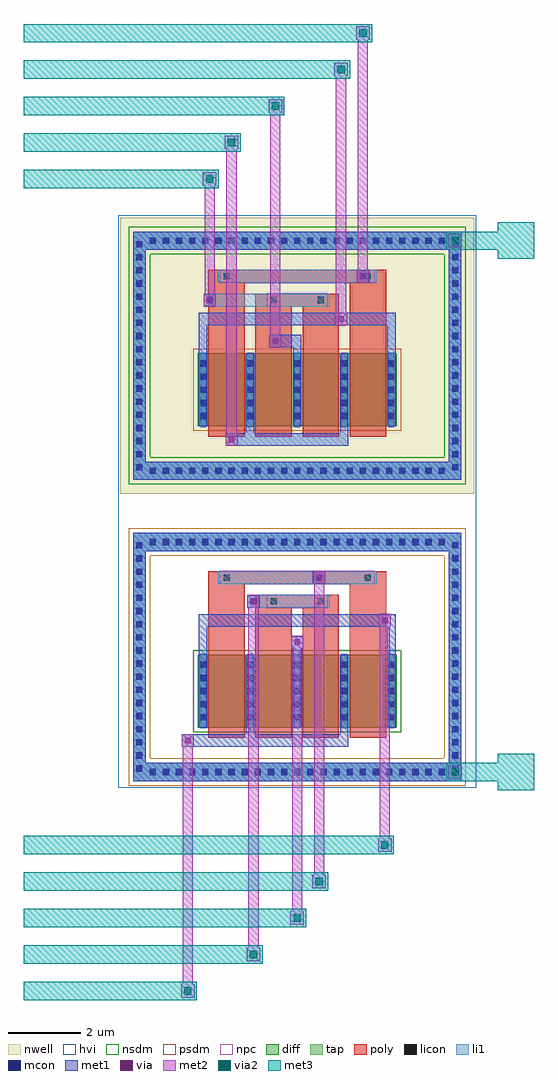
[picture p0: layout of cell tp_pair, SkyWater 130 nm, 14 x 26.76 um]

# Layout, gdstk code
import gdstk
lib = gdstk.Library(unit=1e-6, precision=1e-09)
def R(c, l, rs):  # rectangles x0, y0, x1, y1
    for r in rs: c.add(gdstk.rectangle(r[:2], r[2:], *l))
def A(c, l, x, y, w, h, nx, ny, dx, dy):  # array of equal rectangles
    R(c, l, [(x+i*dx, y+j*dy, x+i*dx+w, y+j*dy+h) for i in range(nx) for j in range(ny)])
nwell = (64, 20)
diff = (65, 20)
tap = (65, 44)
poly = (66, 20)
licon = (66, 44)
li1 = (67, 20)
mcon = (67, 44)
met1 = (68, 20)
via = (68, 44)
met2 = (69, 20)
via2 = (69, 44)
met3 = (70, 20)
hvi = (75, 20)
nsdm = (93, 44)
psdm = (94, 20)
npc = (95, 20)

tp_pair_rc = lib.new_cell('tp_pair_rc')
R(tp_pair_rc, nwell, [(-4.85,8.13,4.85,15.7)])
R(tp_pair_rc, diff, [(-2.725,1.72,2.725,3.72), (-2.725,9.98,2.725,11.98)])
R(tp_pair_rc, tap, [(-4.5,0.25,4.5,0.75), (-4.5,0.25,-4.16,7.06), (4.16,0.25,4.5,7.06), (-4.5,6.56,4.5,7.06), (-4.5,8.51,4.5,9.01), (-4.5,8.51,-4.16,15.32), (4.16,8.51,4.5,15.32), (-4.5,14.82,4.5,15.32)])
A(tp_pair_rc, poly, -2.435, 1.435, 1, 2.57, 4, 2, 1.29, 8.26)
R(tp_pair_rc, poly, [(-2.435,3.72,-1.435,5.83), (-1.145,3.72,-0.145,5.18), (0.145,3.72,1.145,5.18), (1.435,3.72,2.435,5.83), (-1.145,5,1.145,5.36), (-2.435,5.65,2.435,6.01), (-2.435,11.98,-1.435,14.09), (-1.145,11.98,-0.145,13.44), (0.145,11.98,1.145,13.44), (1.435,11.98,2.435,14.09), (-1.145,13.26,1.145,13.62), (-2.435,13.91,2.435,14.27)])
A(tp_pair_rc, licon, -4.045, 0.415, 0.17, 0.17, 23, 2, 0.36, 6.31)
A(tp_pair_rc, licon, -4.415, 0.51, 0.17, 0.17, 1, 18, 0, 0.36)
A(tp_pair_rc, licon, 4.245, 0.51, 0.17, 0.17, 1, 18, 0, 0.36)
A(tp_pair_rc, licon, -2.665, 1.915, 0.17, 0.17, 5, 5, 1.29, 0.36)
A(tp_pair_rc, licon, -4.045, 8.675, 0.17, 0.17, 23, 2, 0.36, 6.31)
A(tp_pair_rc, licon, -4.415, 8.77, 0.17, 0.17, 1, 18, 0, 0.36)
A(tp_pair_rc, licon, 4.245, 8.77, 0.17, 0.17, 1, 18, 0, 0.36)
A(tp_pair_rc, licon, -2.665, 10.175, 0.17, 0.17, 5, 5, 1.29, 0.36)
R(tp_pair_rc, licon, [(-0.73,5.095,-0.56,5.265), (0.56,5.095,0.73,5.265), (-2.02,5.745,-1.85,5.915), (1.85,5.745,2.02,5.915), (-0.73,13.355,-0.56,13.525), (0.56,13.355,0.73,13.525), (-2.02,14.005,-1.85,14.175), (1.85,14.005,2.02,14.175)])
A(tp_pair_rc, li1, -2.665, 1.7, 0.17, 2.04, 5, 2, 1.29, 8.26)
R(tp_pair_rc, li1, [(-4.5,0.25,4.5,0.75), (-4.5,0.25,-4.16,7.06), (4.16,0.25,4.5,7.06), (-1.37,5,0.895,5.36), (-2.185,5.65,2.185,6.01), (-4.5,6.56,4.5,7.06), (-4.5,8.51,4.5,9.01), (-4.5,8.51,-4.16,15.32), (4.16,8.51,4.5,15.32), (-2.57,13.26,0.895,13.62), (-2.185,13.91,2.185,14.27), (-4.5,14.82,4.5,15.32)])
A(tp_pair_rc, mcon, -4.045, 0.415, 0.17, 0.17, 23, 2, 0.36, 6.31)
A(tp_pair_rc, mcon, -4.415, 0.51, 0.17, 0.17, 1, 18, 0, 0.36)
A(tp_pair_rc, mcon, 4.245, 0.51, 0.17, 0.17, 1, 18, 0, 0.36)
A(tp_pair_rc, mcon, -2.665, 1.915, 0.17, 0.17, 5, 5, 1.29, 0.36)
A(tp_pair_rc, mcon, -4.045, 8.675, 0.17, 0.17, 23, 2, 0.36, 6.31)
A(tp_pair_rc, mcon, -4.415, 8.77, 0.17, 0.17, 1, 18, 0, 0.36)
A(tp_pair_rc, mcon, 4.245, 8.77, 0.17, 0.17, 1, 18, 0, 0.36)
A(tp_pair_rc, mcon, -2.665, 10.175, 0.17, 0.17, 5, 5, 1.29, 0.36)
R(tp_pair_rc, mcon, [(-1.285,5.095,-1.115,5.265), (0.515,5.745,0.685,5.915), (-2.485,13.355,-2.315,13.525), (1.715,14.005,1.885,14.175)])
A(tp_pair_rc, met1, -2.695, 1.72, 0.23, 2, 5, 2, 1.29, 8.26)
R(tp_pair_rc, met1, [(-4.5,0.25,4.5,0.75), (-4.5,0.25,-4.16,7.06), (4.16,0.25,4.5,7.06), (-3.165,1.19,1.405,1.53), (-1.405,1.19,-1.175,1.72), (1.175,1.19,1.405,1.72), (-3.165,1.195,-2.835,1.525), (-2.695,3.72,-2.465,4.83), (-0.115,3.72,0.115,4.23), (2.465,3.72,2.695,4.83), (-0.165,3.89,0.165,4.23), (-0.165,3.895,0.165,4.225), (-2.695,4.49,2.695,4.83), (2.235,4.495,2.565,4.825), (-1.37,5.01,-1.03,5.35), (0.43,5.66,0.77,6), (-4.5,6.56,4.5,7.06), (-4.5,8.51,4.5,9.01), (-4.5,8.51,-4.16,15.32), (4.16,8.51,4.5,15.32), (-1.965,9.45,1.405,9.79), (-1.405,9.45,-1.175,9.98), (1.175,9.45,1.405,9.98), (-1.965,9.455,-1.635,9.785), (-2.695,11.98,-2.465,13.09), (-0.115,11.98,0.115,12.49), (2.465,11.98,2.695,13.09), (-0.765,12.15,0.115,12.49), (-0.765,12.155,-0.435,12.485), (-2.695,12.75,2.695,13.09), (1.035,12.755,1.365,13.085), (-2.57,13.27,-2.23,13.61), (1.63,13.92,1.97,14.26), (-4.5,14.82,4.5,15.32)])
R(tp_pair_rc, via, [(-3.075,1.285,-2.925,1.435), (-0.075,3.985,0.075,4.135), (2.325,4.585,2.475,4.735), (-1.275,5.105,-1.125,5.255), (0.525,5.755,0.675,5.905), (-1.875,9.545,-1.725,9.695), (-0.675,12.245,-0.525,12.395), (1.125,12.845,1.275,12.995), (-2.475,13.365,-2.325,13.515), (1.725,14.015,1.875,14.165)])
R(tp_pair_rc, met2, [(-3.14,0,-2.86,1.54), (-1.34,0,-1.06,5.36), (-0.14,0,0.14,4.24), (0.46,0,0.74,6.01), (2.26,0,2.54,4.84), (-3.165,1.195,-2.835,1.525), (-0.165,3.895,0.165,4.225), (2.235,4.495,2.565,4.825), (-1.365,5.015,-1.035,5.345), (0.435,5.665,0.765,5.995), (-1.94,9.44,-1.66,15.76), (-1.965,9.455,-1.635,9.785), (-0.74,12.14,-0.46,15.76), (-0.765,12.155,-0.435,12.485), (1.06,12.74,1.34,15.76), (1.035,12.755,1.365,13.085), (-2.54,13.26,-2.26,15.76), (-2.565,13.275,-2.235,13.605), (1.66,13.91,1.94,15.76), (1.635,13.925,1.965,14.255)])
R(tp_pair_rc, hvi, [(-4.91,0.065,4.91,15.76)])
R(tp_pair_rc, nsdm, [(-2.85,1.595,2.85,3.845), (-4.625,8.385,4.625,9.135), (-4.625,8.385,-4.035,15.445), (4.035,8.385,4.625,15.445), (-4.625,14.695,4.625,15.445)])
R(tp_pair_rc, psdm, [(-4.625,0.125,4.625,0.875), (-4.625,0.125,-4.035,7.185), (4.035,0.125,4.625,7.185), (-4.625,6.435,4.625,7.185), (-2.85,9.855,2.85,12.105)])
R(tp_pair_rc, npc, [(-0.83,4.995,0.83,5.365), (-2.12,5.645,2.12,6.015), (-0.83,13.255,0.83,13.625), (-2.12,13.905,2.12,14.275)])

tp_pair = lib.new_cell('tp_pair')
R(tp_pair, met1, [(11.67,6.34,11.99,6.66), (11.67,20.91,11.99,21.23)])
R(tp_pair, via, [(11.755,6.425,11.905,6.575), (11.755,20.995,11.905,21.145)])
R(tp_pair, met2, [(4.315,0.315,4.685,0.685), (4.36,0.315,4.64,6.3), (6.115,1.315,6.485,1.685), (6.16,1.315,6.44,6.3), (7.315,2.315,7.685,2.685), (7.36,2.315,7.64,6.3), (7.915,3.315,8.285,3.685), (7.96,3.315,8.24,6.3), (9.715,4.315,10.085,4.685), (9.76,4.315,10.04,6.3), (11.645,6.315,12.015,6.685), (11.67,6.34,11.99,6.66), (11.645,20.885,12.015,21.255), (11.67,20.91,11.99,21.23), (4.96,21.46,5.24,22.945), (5.56,21.46,5.84,23.945), (6.76,21.46,7.04,24.945), (8.56,21.46,8.84,25.945), (9.16,21.46,9.44,26.945), (4.915,22.575,5.285,22.945), (5.515,23.575,5.885,23.945), (6.715,24.575,7.085,24.945), (8.515,25.575,8.885,25.945), (9.115,26.575,9.485,26.945)])
R(tp_pair, via2, [(4.4,0.4,4.6,0.6), (6.2,1.4,6.4,1.6), (7.4,2.4,7.6,2.6), (8,3.4,8.2,3.6), (9.8,4.4,10,4.6), (11.73,6.4,11.93,6.6), (11.73,20.97,11.93,21.17), (5,22.66,5.2,22.86), (5.6,23.66,5.8,23.86), (6.8,24.66,7,24.86), (8.6,25.66,8.8,25.86), (9.2,26.66,9.4,26.86)])
A(tp_pair, met3, 0, 0.25, 1, 0.5, 1, 5, 0, 1)
A(tp_pair, met3, 0, 22.51, 1, 0.5, 1, 5, 0, 1)
R(tp_pair, met3, [(0,0.25,4.75,0.75), (4.25,0.25,4.75,0.75), (0,1.25,6.55,1.75), (6.05,1.25,6.55,1.75), (0,2.25,7.75,2.75), (7.25,2.25,7.75,2.75), (0,3.25,8.35,3.75), (7.85,3.25,8.35,3.75), (0,4.25,10.15,4.75), (9.65,4.25,10.15,4.75), (13,6,14,7), (11.58,6.25,12.08,6.75), (11.58,6.25,14,6.75), (13,20.57,14,21.57), (11.58,20.82,12.08,21.32), (11.58,20.82,14,21.32), (0,22.51,5.35,23.01), (4.85,22.51,5.35,23.01), (0,23.51,5.95,24.01), (5.45,23.51,5.95,24.01), (0,24.51,7.15,25.01), (6.65,24.51,7.15,25.01), (0,25.51,8.95,26.01), (8.45,25.51,8.95,26.01), (0,26.51,9.55,27.01), (9.05,26.51,9.55,27.01)])
tp_pair.add(gdstk.Reference(tp_pair_rc, (7.5,6)))

lib.write_gds('tp_pair.gds')
